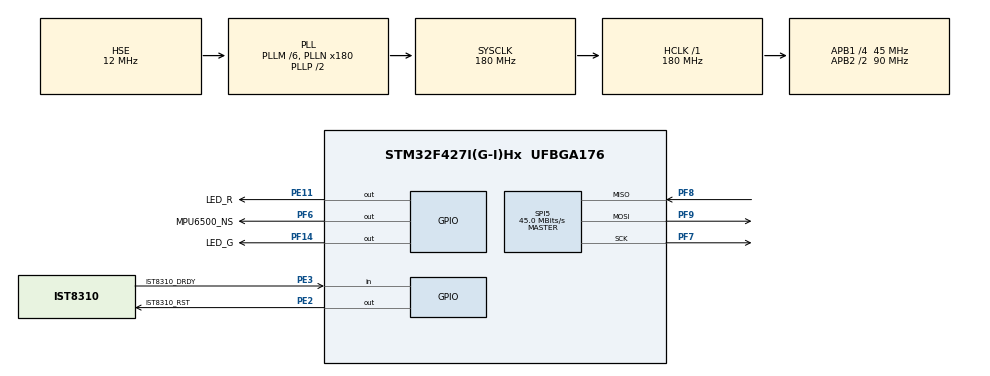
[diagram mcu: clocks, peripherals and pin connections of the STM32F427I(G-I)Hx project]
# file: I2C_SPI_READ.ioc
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Mcu.Family=STM32F4
Mcu.Name=STM32F427I(G-I)Hx
Mcu.Package=UFBGA176
NVIC.PriorityGroup=NVIC_PRIORITYGROUP_4
PA13.Mode=Serial_Wire
PA13.Signal=SYS_JTMS-SWDIO
PA14.Mode=Serial_Wire
PA14.Signal=SYS_JTCK-SWCLK
PE11.GPIO_Label=LED_R
PE11.Signal=GPIO_Output
PE2.GPIO_Label=IST8310_RST
PE2.GPIO_PuPd=GPIO_PULLUP
PE2.GPIO_Speed=GPIO_SPEED_FREQ_VERY_HIGH
PE2.PinState=GPIO_PIN_SET
PE2.Signal=GPIO_Output
PE3.GPIO_Label=IST8310_DRDY
PE3.GPIO_PuPd=GPIO_PULLUP
PE3.Signal=GPIO_Input
PF14.GPIO_Label=LED_G
PF14.Signal=GPIO_Output
PF6.GPIO_Label=MPU6500_NS
PF6.GPIO_PuPd=GPIO_PULLUP
PF6.GPIO_Speed=GPIO_SPEED_FREQ_VERY_HIGH
PF6.PinState=GPIO_PIN_SET
PF6.Signal=GPIO_Output
PF7.Mode=Full_Duplex_Master
PF7.Signal=SPI5_SCK
PF8.Mode=Full_Duplex_Master
PF8.Signal=SPI5_MISO
PF9.Mode=Full_Duplex_Master
PF9.Signal=SPI5_MOSI
PH0/OSC_IN.Mode=HSE-External-Oscillator
PH0/OSC_IN.Signal=RCC_OSC_IN
PH1/OSC_OUT.Mode=HSE-External-Oscillator
PH1/OSC_OUT.Signal=RCC_OSC_OUT
ProjectManager.HeapSize=0x200
ProjectManager.StackSize=0x400
ProjectManager.TargetToolchain=MDK-ARM V5.32
RCC.48MHZClocksFreq_Value=90000000
RCC.AHBFreq_Value=180000000
RCC.APB1CLKDivider=RCC_HCLK_DIV4
RCC.APB1Freq_Value=45000000
RCC.APB1TimFreq_Value=90000000
RCC.APB2CLKDivider=RCC_HCLK_DIV2
RCC.APB2Freq_Value=90000000
RCC.APB2TimFreq_Value=180000000
RCC.CortexFreq_Value=180000000
RCC.HCLKFreq_Value=180000000
RCC.HSE_VALUE=12000000
RCC.HSI_VALUE=16000000
RCC.LSE_VALUE=32768
RCC.PLLM=6
RCC.PLLN=180
RCC.PLLSourceVirtual=RCC_PLLSOURCE_HSE
RCC.SYSCLKFreq_VALUE=180000000
RCC.SYSCLKSource=RCC_SYSCLKSOURCE_PLLCLK
RCC.VCOOutputFreq_Value=360000000
SPI5.CalculateBaudRate=45.0 MBits/s
SPI5.Direction=SPI_DIRECTION_2LINES
SPI5.Mode=SPI_MODE_MASTER
SPI5.VirtualType=VM_MASTER
board=custom

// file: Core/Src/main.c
/* USER CODE BEGIN Header */
/**
  ******************************************************************************
  * @file           : main.c
  * @brief          : Main program body
  ******************************************************************************
  * @attention
  *
  * Copyright (c) 2022 STMicroelectronics.
  * All rights reserved.
  *
  * This software is licensed under terms that can be found in the LICENSE file
  * in the root directory of this software component.
  * If no LICENSE file comes with this software, it is provided AS-IS.
  *
  ******************************************************************************
  */
/* USER CODE END Header */
#include "main.h"
#include "spi.h"
#include "gpio.h"

/* USER CODE BEGIN Includes */
#include "struct_typedef.h"
#include "mpu6500driver_middleware.h"
#include "ist8310driver.h"
#include "ist8310driver_middleWare.h"
#include "mpu6500reg.h"
#include "mpu6500driver.h"
/* USER CODE END Includes */

void SystemClock_Config(void);

/* USER CODE BEGIN 0 */
fp32 gyro[3], accel[3],mag[3], temp;
/* USER CODE END 0 */

int main(void)
{

  /* MCU Configuration--------------------------------------------------------*/

  /* Reset of all peripherals, Initializes the Flash interface and the Systick. */
  HAL_Init();

  /* Configure the system clock */
  SystemClock_Config();

  /* Initialize all configured peripherals */
  MX_GPIO_Init();
  MX_SPI5_Init();
  /* USER CODE BEGIN 2 */
	while(mpu6500_init())
	{
		;
	}
	while(ist8310_init())
	{
		;
	}
  /* USER CODE END 2 */

  /* Infinite loop */
  /* USER CODE BEGIN WHILE */
  while (1)
  {
		mpu6500_read_gyro(gyro);
		mpu6500_read_accel(accel);
		mpu6500_read_temp(&temp);
		ist8310_read_mag(mag);
    /* USER CODE END WHILE */

  }
}

void SystemClock_Config(void)
{
  RCC_OscInitTypeDef RCC_OscInitStruct = {0};
  RCC_ClkInitTypeDef RCC_ClkInitStruct = {0};

  /** Configure the main internal regulator output voltage
  */
  __HAL_RCC_PWR_CLK_ENABLE();
  __HAL_PWR_VOLTAGESCALING_CONFIG(PWR_REGULATOR_VOLTAGE_SCALE1);

  /** Initializes the RCC Oscillators according to the specified parameters
  * in the RCC_OscInitTypeDef structure.
  */
  RCC_OscInitStruct.OscillatorType = RCC_OSCILLATORTYPE_HSE;
  RCC_OscInitStruct.HSEState = RCC_HSE_ON;
  RCC_OscInitStruct.PLL.PLLState = RCC_PLL_ON;
  RCC_OscInitStruct.PLL.PLLSource = RCC_PLLSOURCE_HSE;
  RCC_OscInitStruct.PLL.PLLM = 6;
  RCC_OscInitStruct.PLL.PLLN = 180;
  RCC_OscInitStruct.PLL.PLLP = RCC_PLLP_DIV2;
  RCC_OscInitStruct.PLL.PLLQ = 4;
  if (HAL_RCC_OscConfig(&RCC_OscInitStruct) != HAL_OK)
  {
    Error_Handler();
  }

  /** Activate the Over-Drive mode
  */
  if (HAL_PWREx_EnableOverDrive() != HAL_OK)
  {
    Error_Handler();
  }

  /** Initializes the CPU, AHB and APB buses clocks
  */
  RCC_ClkInitStruct.ClockType = RCC_CLOCKTYPE_HCLK|RCC_CLOCKTYPE_SYSCLK
                              |RCC_CLOCKTYPE_PCLK1|RCC_CLOCKTYPE_PCLK2;
  RCC_ClkInitStruct.SYSCLKSource = RCC_SYSCLKSOURCE_PLLCLK;
  RCC_ClkInitStruct.AHBCLKDivider = RCC_SYSCLK_DIV1;
  RCC_ClkInitStruct.APB1CLKDivider = RCC_HCLK_DIV4;
  RCC_ClkInitStruct.APB2CLKDivider = RCC_HCLK_DIV2;

  if (HAL_RCC_ClockConfig(&RCC_ClkInitStruct, FLASH_LATENCY_5) != HAL_OK)
  {
    Error_Handler();
  }
}

void Error_Handler(void)
{
  __disable_irq();
  while (1)
  {
  }
}
